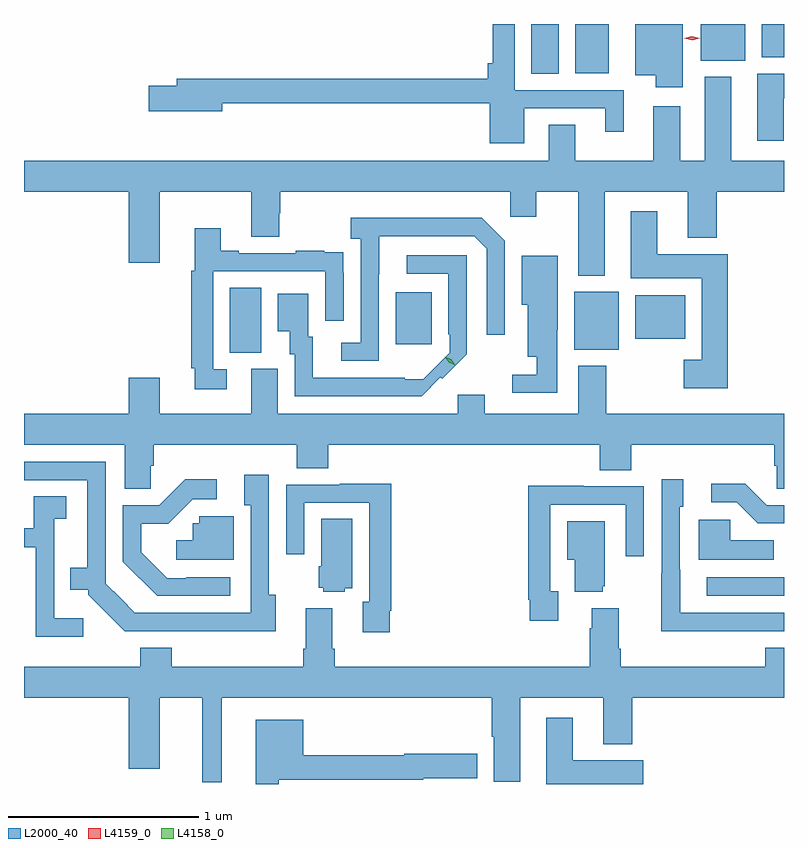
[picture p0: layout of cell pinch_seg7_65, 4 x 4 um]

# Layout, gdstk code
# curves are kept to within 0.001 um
import gdstk
lib = gdstk.Library(unit=1e-6, precision=1e-09)
def R(c, l, rs):  # rectangles x0, y0, x1, y1
    for r in rs: c.add(gdstk.rectangle(r[:2], r[2:], *l))
def P(c, l, *ps):  # polygons
    for p in ps: c.add(gdstk.Polygon(p, *l))
L2000_40 = (2000, 40)
L4158_0 = (4158, 0)
L4159_0 = (4159, 0)

pinch_seg7_65 = lib.new_cell('pinch_seg7_65')
R(pinch_seg7_65, L2000_40, [(971.247,1066.422,971.654,1066.518), (968.738,1067.701,968.902,1068.044), (970.55,1067.717,970.783,1068.022), (969.611,1067.745,969.799,1068.019), (970.871,1067.774,971.134,1068.004), (970.325,1069.168,970.468,1069.431), (970.556,1069.172,970.732,1069.431), (971.216,1069.238,971.449,1069.431), (971.537,1069.256,971.654,1069.431)])
P(pinch_seg7_65, L2000_40, [(971.122,1069.431),(970.871,1069.431),(970.871,1069.16),(970.979,1069.16),(970.979,1069.098),(971.122,1069.098)],
  [(970.288,1068.987),(970.712,1068.987),(970.712,1068.864),(970.81,1068.864),(970.81,1069.083),(970.236,1069.083),(970.236,1069.431),(970.12,1069.431),(970.12,1069.225),(970.094,1069.225),(970.094,1069.142),(968.459,1069.142),(968.459,1069.106),(968.31,1069.106),(968.31,1068.971),(968.698,1068.971),(968.698,1069.014),(970.106,1069.014),(970.106,1068.803),(970.288,1068.803)],
  [(971.653,1069.04),(971.654,1069.04),(971.654,1069.168),(971.513,1069.168),(971.513,1068.816),(971.653,1068.816)],
  [(970.711,1068.548),(971.147,1068.548),(971.147,1068.305),(971.3,1068.305),(971.3,1068.548),(971.654,1068.548),(971.654,1068.712),(971.377,1068.712),(971.377,1069.153),(971.237,1069.153),(971.237,1068.712),(971.107,1068.712),(971.107,1068.997),(970.967,1068.997),(970.967,1068.712),(970.555,1068.712),(970.555,1068.902),(970.415,1068.902),(970.415,1068.712),(967.654,1068.712),(967.654,1068.548),(968.204,1068.548),(968.204,1068.174),(968.368,1068.174),(968.368,1068.548),(968.849,1068.548),(968.849,1068.31),(968.997,1068.31),(968.997,1068.435),(969.002,1068.435),(969.002,1068.548),(970.212,1068.548),(970.212,1068.417),(970.351,1068.417),(970.351,1068.548),(970.571,1068.548),(970.571,1068.107),(970.711,1068.107)],
  [(971.357,1068.22),(970.987,1068.22),(970.987,1068.445),(970.847,1068.445),(970.847,1068.092),(971.222,1068.092),(971.222,1067.665),(971.127,1067.665),(971.127,1067.513),(971.357,1067.513)],
  [(969.522,1068.115),(969.523,1068.315),(970.023,1068.315),(970.089,1068.249),(970.089,1067.796),(970.185,1067.796),(970.185,1068.291),(970.064,1068.412),(969.375,1068.412),(969.375,1068.302),(969.426,1068.302),(969.426,1067.754),(969.324,1067.754),(969.324,1067.658),(969.522,1067.658)],
  [(968.722,1067.613),(968.649,1067.613),(968.649,1068.129),(969.24,1068.129),(969.24,1067.868),(969.336,1067.868),(969.336,1068.122),(969.335,1068.122),(969.335,1068.231),(969.233,1068.231),(969.233,1068.238),(969.085,1068.238),(969.085,1068.225),(968.785,1068.225),(968.785,1068.238),(968.689,1068.238),(968.689,1068.355),(968.552,1068.355),(968.552,1068.132),(968.533,1068.132),(968.533,1067.62),(968.552,1067.62),(968.552,1067.508),(968.722,1067.508)],
  [(969.846,1067.571),(969.855,1067.563),(969.984,1067.692),(969.984,1068.213),(969.669,1068.213),(969.669,1068.117),(969.888,1068.117),(969.888,1067.797),(969.894,1067.797),(969.894,1067.7),(969.756,1067.562),(969.659,1067.562),(969.659,1067.568),(969.175,1067.568),(969.175,1067.784),(969.151,1067.784),(969.151,1068.01),(968.99,1068.01),(968.99,1067.813),(969.053,1067.813),(969.053,1067.694),(969.078,1067.694),(969.078,1067.472),(969.747,1067.472)],
  [(970.461,1067.821),(970.462,1067.821),(970.462,1068.211),(970.274,1068.211),(970.274,1067.954),(970.304,1067.954),(970.304,1067.681),(970.353,1067.681),(970.353,1067.586),(970.224,1067.586),(970.224,1067.49),(970.461,1067.49)],
  [(968.322,1067.106),(968.336,1067.106),(968.336,1067.216),(969.089,1067.216),(969.089,1067.092),(969.254,1067.092),(969.254,1067.216),(970.685,1067.216),(970.685,1067.083),(970.85,1067.083),(970.85,1067.216),(971.603,1067.216),(971.603,1067.107),(971.616,1067.107),(971.616,1066.984),(971.654,1066.984),(971.654,1067.38),(970.719,1067.38),(970.719,1067.632),(970.571,1067.632),(970.571,1067.38),(970.078,1067.38),(970.078,1067.479),(969.938,1067.479),(969.938,1067.38),(968.989,1067.38),(968.989,1067.616),(968.849,1067.616),(968.849,1067.38),(968.368,1067.38),(968.368,1067.569),(968.204,1067.569),(968.204,1067.38),(967.654,1067.38),(967.654,1067.216),(968.183,1067.216),(968.183,1066.984),(968.322,1066.984)],
  [(968.98,1066.426),(968.943,1066.426),(968.943,1067.059),(968.813,1067.059),(968.813,1066.898),(968.847,1066.898),(968.847,1066.332),(968.238,1066.332),(968.085,1066.486),(968.085,1067.127),(967.654,1067.127),(967.654,1067.031),(967.988,1067.031),(967.988,1066.569),(967.897,1066.569),(967.897,1066.454),(967.992,1066.454),(967.992,1066.428),(968.184,1066.236),(968.98,1066.235)],
  [(968.74,1066.518),(968.509,1066.518),(968.509,1066.515),(968.409,1066.515),(968.272,1066.652),(968.272,1066.802),(968.414,1066.802),(968.541,1066.929),(968.668,1066.929),(968.668,1067.035),(968.503,1067.035),(968.367,1066.899),(968.175,1066.899),(968.175,1066.601),(968.354,1066.422),(968.74,1066.422)],
  [(971.471,1066.236),(971.654,1066.236),(971.654,1066.332),(971.107,1066.332),(971.107,1066.559),(971.106,1066.559),(971.106,1066.89),(971.125,1066.89),(971.125,1067.035),(971.01,1067.035),(971.01,1066.541),(971.008,1066.541),(971.008,1066.235),(971.471,1066.235)],
  [(971.654,1066.899),(971.562,1066.899),(971.449,1067.012),(971.271,1067.012),(971.271,1066.914),(971.405,1066.914),(971.516,1066.803),(971.654,1066.803)],
  [(969.58,1066.342),(969.587,1066.342),(969.587,1067.011),(969.317,1067.011),(969.317,1067.007),(969.033,1067.007),(969.033,1066.641),(969.129,1066.641),(969.129,1066.911),(969.471,1066.911),(969.471,1066.391),(969.437,1066.391),(969.437,1066.23),(969.58,1066.23)],
  [(970.465,1066.446),(970.425,1066.446),(970.425,1066.902),(970.821,1066.902),(970.821,1066.629),(970.917,1066.629),(970.917,1066.998),(970.601,1066.998),(970.601,1067),(970.309,1067),(970.309,1066.402),(970.317,1066.402),(970.317,1066.29),(970.465,1066.29)],
  [(967.966,1066.303),(967.812,1066.303),(967.812,1066.828),(967.876,1066.828),(967.876,1066.946),(967.704,1066.946),(967.704,1066.776),(967.654,1066.776),(967.654,1066.677),(967.716,1066.677),(967.716,1066.205),(967.966,1066.205)],
  [(968.758,1066.839),(968.577,1066.839),(968.577,1066.803),(968.541,1066.803),(968.541,1066.714),(968.454,1066.714),(968.454,1066.611),(968.758,1066.611)],
  [(969.342,1066.46),(969.382,1066.46),(969.382,1066.826),(969.218,1066.826),(969.218,1066.578),(969.206,1066.578),(969.206,1066.464),(969.228,1066.464),(969.228,1066.442),(969.342,1066.442)],
  [(971.6,1066.714),(971.37,1066.714),(971.37,1066.822),(971.204,1066.822),(971.204,1066.61),(971.6,1066.61)],
  [(970.7,1066.473),(970.711,1066.473),(970.711,1066.813),(970.514,1066.813),(970.514,1066.61),(970.553,1066.61),(970.553,1066.442),(970.7,1066.442)],
  [(968.695,1065.884),(970.115,1065.884),(970.115,1065.679),(970.127,1065.679),(970.127,1065.443),(970.267,1065.443),(970.267,1065.884),(970.703,1065.884),(970.703,1065.641),(970.856,1065.641),(970.856,1065.884),(971.654,1065.884),(971.654,1066.147),(971.555,1066.147),(971.555,1066.048),(970.796,1066.048),(970.796,1066.144),(970.783,1066.144),(970.783,1066.357),(970.643,1066.357),(970.643,1066.25),(970.631,1066.25),(970.631,1066.048),(969.29,1066.048),(969.29,1066.144),(969.277,1066.144),(969.277,1066.357),(969.137,1066.357),(969.137,1066.144),(969.125,1066.144),(969.125,1066.048),(968.432,1066.048),(968.432,1066.147),(968.267,1066.147),(968.267,1066.048),(967.654,1066.048),(967.654,1065.884),(968.204,1065.884),(968.204,1065.51),(968.368,1065.51),(968.368,1065.884),(968.591,1065.884),(968.591,1065.44),(968.695,1065.44)],
  [(970.913,1065.556),(970.543,1065.556),(970.543,1065.781),(970.403,1065.781),(970.403,1065.431),(970.913,1065.431)],
  [(968.995,1065.454),(969.754,1065.454),(969.754,1065.461),(970.039,1065.461),(970.039,1065.591),(969.654,1065.591),(969.654,1065.583),(969.124,1065.583),(969.124,1065.769),(968.873,1065.769),(968.873,1065.431),(968.995,1065.431)])
P(pinch_seg7_65, L4158_0, [(969.924,1067.636),(969.89,1067.65),(969.868,1067.68),(969.868,1067.68),(969.868,1067.68),(969.902,1067.666),(969.925,1067.636),(969.925,1067.636)])
P(pinch_seg7_65, L4159_0, [(971.17,1069.346),(971.129,1069.355),(971.129,1069.355),(971.129,1069.355),(971.169,1069.366),(971.21,1069.357),(971.21,1069.357),(971.21,1069.357)])

lib.write_gds('pinch_seg7_65.gds')
